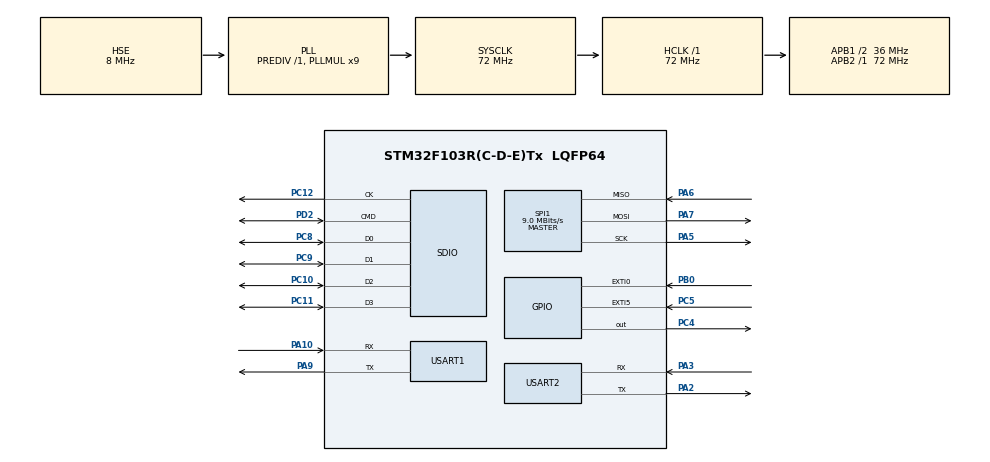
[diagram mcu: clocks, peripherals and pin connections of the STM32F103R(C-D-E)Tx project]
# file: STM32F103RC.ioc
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Mcu.Family=STM32F1
Mcu.Name=STM32F103R(C-D-E)Tx
Mcu.Package=LQFP64
NVIC.EXTI0_IRQn=true\:0\:0\:false\:false\:true\:true
NVIC.EXTI9_5_IRQn=true\:0\:0\:false\:false\:true\:true
NVIC.PriorityGroup=NVIC_PRIORITYGROUP_4
NVIC.USART1_IRQn=true\:0\:0\:false\:false\:true\:true
NVIC.USART2_IRQn=true\:0\:0\:false\:false\:true\:true
PA10.Mode=Asynchronous
PA10.Signal=USART1_RX
PA2.Mode=Asynchronous
PA2.Signal=USART2_TX
PA3.Mode=Asynchronous
PA3.Signal=USART2_RX
PA5.Mode=Full_Duplex_Master
PA5.Signal=SPI1_SCK
PA6.Mode=Full_Duplex_Master
PA6.Signal=SPI1_MISO
PA7.Mode=Full_Duplex_Master
PA7.Signal=SPI1_MOSI
PA9.Mode=Asynchronous
PA9.Signal=USART1_TX
PB0.GPIO_PuPd=GPIO_PULLDOWN
PB0.Signal=GPXTI0
PC10.Mode=SD_4_bits_Wide_bus
PC10.Signal=SDIO_D2
PC11.Mode=SD_4_bits_Wide_bus
PC11.Signal=SDIO_D3
PC12.Mode=SD_4_bits_Wide_bus
PC12.Signal=SDIO_CK
PC4.Signal=GPIO_Output
PC5.GPIO_PuPd=GPIO_PULLDOWN
PC5.Signal=GPXTI5
PC8.Mode=SD_4_bits_Wide_bus
PC8.Signal=SDIO_D0
PC9.Mode=SD_4_bits_Wide_bus
PC9.Signal=SDIO_D1
PD0-OSC_IN.Mode=HSE-External-Oscillator
PD0-OSC_IN.Signal=RCC_OSC_IN
PD1-OSC_OUT.Mode=HSE-External-Oscillator
PD1-OSC_OUT.Signal=RCC_OSC_OUT
PD2.Mode=SD_4_bits_Wide_bus
PD2.Signal=SDIO_CMD
ProjectManager.HeapSize=0x200
ProjectManager.StackSize=0x400
ProjectManager.TargetToolchain=MDK-ARM V5
RCC.AHBFreq_Value=72000000
RCC.APB1CLKDivider=RCC_HCLK_DIV2
RCC.APB1Freq_Value=36000000
RCC.APB1TimFreq_Value=72000000
RCC.APB2Freq_Value=72000000
RCC.APB2TimFreq_Value=72000000
RCC.HCLKFreq_Value=72000000
RCC.PLLMUL=RCC_PLL_MUL9
RCC.PLLSourceVirtual=RCC_PLLSOURCE_HSE
RCC.SYSCLKFreq_VALUE=72000000
RCC.SYSCLKSource=RCC_SYSCLKSOURCE_PLLCLK
RCC.USBFreq_Value=72000000
SDIO.ClockDiv=4
SPI1.BaudRatePrescaler=SPI_BAUDRATEPRESCALER_8
SPI1.CalculateBaudRate=9.0 MBits/s
SPI1.Direction=SPI_DIRECTION_2LINES
SPI1.Mode=SPI_MODE_MASTER
SPI1.VirtualType=VM_MASTER
USART1.VirtualMode=VM_ASYNC
USART2.VirtualMode=VM_ASYNC
VP_FATFS_VS_SDIO.Mode=SDIO
VP_SYS_VS_ND.Mode=No_Debug
board=STM32F103RC

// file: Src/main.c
/**
  ******************************************************************************
  * File Name          : main.c
  * Description        : Main program body
  ******************************************************************************
  * This notice applies to any and all portions of this file
  * that are not between comment pairs USER CODE BEGIN and
  * USER CODE END. Other portions of this file, whether
  * inserted by the user or by software development tools
  * are owned by their respective copyright owners.
  *
  * Copyright (c) 2018 STMicroelectronics International N.V.
  * All rights reserved.
  *
  * Redistribution and use in source and binary forms, with or without
  * modification, are permitted, provided that the following conditions are met:
  *
  * 1. Redistribution of source code must retain the above copyright notice,
  *    this list of conditions and the following disclaimer.
  * 2. Redistributions in binary form must reproduce the above copyright notice,
  *    this list of conditions and the following disclaimer in the documentation
  *    and/or other materials provided with the distribution.
  * 3. Neither the name of STMicroelectronics nor the names of other
  *    contributors to this software may be used to endorse or promote products
  *    derived from this software without specific written permission.
  * 4. This software, including modifications and/or derivative works of this
  *    software, must execute solely and exclusively on microcontroller or
  *    microprocessor devices manufactured by or for STMicroelectronics.
  * 5. Redistribution and use of this software other than as permitted under
  *    this license is void and will automatically terminate your rights under
  *    this license.
  *
  * THIS SOFTWARE IS PROVIDED BY STMICROELECTRONICS AND CONTRIBUTORS "AS IS"
  * AND ANY EXPRESS, IMPLIED OR STATUTORY WARRANTIES, INCLUDING, BUT NOT
  * LIMITED TO, THE IMPLIED WARRANTIES OF MERCHANTABILITY, FITNESS FOR A
  * PARTICULAR PURPOSE AND NON-INFRINGEMENT OF THIRD PARTY INTELLECTUAL PROPERTY
  * RIGHTS ARE DISCLAIMED TO THE FULLEST EXTENT PERMITTED BY LAW. IN NO EVENT
  * SHALL STMICROELECTRONICS OR CONTRIBUTORS BE LIABLE FOR ANY DIRECT, INDIRECT,
  * INCIDENTAL, SPECIAL, EXEMPLARY, OR CONSEQUENTIAL DAMAGES (INCLUDING, BUT NOT
  * LIMITED TO, PROCUREMENT OF SUBSTITUTE GOODS OR SERVICES; LOSS OF USE, DATA,
  * OR PROFITS; OR BUSINESS INTERRUPTION) HOWEVER CAUSED AND ON ANY THEORY OF
  * LIABILITY, WHETHER IN CONTRACT, STRICT LIABILITY, OR TORT (INCLUDING
  * NEGLIGENCE OR OTHERWISE) ARISING IN ANY WAY OUT OF THE USE OF THIS SOFTWARE,
  * EVEN IF ADVISED OF THE POSSIBILITY OF SUCH DAMAGE.
  *
  ******************************************************************************
  */

#include "main.h"
#include "stm32f1xx_hal.h"
#include "fatfs.h"
#include "sdio.h"
#include "spi.h"
#include "usart.h"
#include "gpio.h"

extern void lwip_demo(void *pdata);

/* USER CODE BEGIN PV */
/* Private variables ---------------------------------------------------------*/
FATFS fs;
FIL file;
FRESULT f_res;
UINT fnum;
BYTE ReadBuffer[1024]={0};
BYTE WriteBuffer[]= "Welcome to supowang\r\n";
/* USER CODE END PV */
static void printf_fatfs_error(FRESULT fresult);
void SystemClock_Config(void);

unsigned int sys_now(void)
{
    return HAL_GetTick();
}

/* USER CODE BEGIN PFP */
/* Private function prototypes -----------------------------------------------*/

/* USER CODE END PFP */

int main(void)
{

  /* MCU Configuration----------------------------------------------------------*/

  /* Reset of all peripherals, Initializes the Flash interface and the Systick. */
  HAL_Init();

  /* Configure the system clock */
  SystemClock_Config();

  /* Initialize all configured peripherals */
  MX_GPIO_Init();
  MX_SPI1_Init();
  MX_USART1_UART_Init();
  MX_USART2_UART_Init();
  MX_SDIO_SD_Init();
  MX_FATFS_Init();

  /* USER CODE BEGIN 2 */
	/* 向串口1发送开机字符 */
/*
    printf("****       (C) COPYRIGHT 2013 制造者科技    *******\r\n");    	  //。
    printf("*                                                 *\r\n");
    printf("*                                                 *\r\n");
    printf("*     MCU平台:STM32F103RCT6                       *\r\n");
    printf("*     以太网硬件:ENC28J60                         *\r\n");
    printf("*     固件库：3.5                                 *\r\n");
    printf("*     例程版本: 0.2                               *\r\n");
    printf("*                                                 *\r\n");
    printf("***************************************************\r\n");
*/
		printf("****** 即将进行测试... ******\r\n");
		if(retSD == 0)
  {
	//在SD卡挂载文件系统，文件系统挂载时会对SD卡初始化
	f_res = f_mount(&fs,(TCHAR const*)SDPath,1);
	printf_fatfs_error(f_res);
    /*----------------------- 格式化测试 ---------------------------*/
    /* 如果没有文件系统就格式化创建创建文件系统 */
    if(f_res == FR_NO_FILESYSTEM)
    {
      printf("》SD卡还没有文件系统，即将进行格式化...\r\n");
      /* 格式化 */
      f_res=f_mkfs((TCHAR const*)SDPath,0,0);

      if(f_res == FR_OK)
      {
        printf("》SD卡已成功格式化文件系统。\r\n");
        /* 格式化后，先取消挂载 */
        f_res = f_mount(NULL,(TCHAR const*)SDPath,1);
        /* 重新挂载	*/
        f_res = f_mount(&fs,(TCHAR const*)SDPath,1);
      }
      else
      {
        printf("《《格式化失败。》》\r\n");
        while(1);
      }
    }
    else if(f_res!=FR_OK)
    {
      printf("！！SD卡挂载文件系统失败。(%d)\r\n",f_res);
      printf_fatfs_error(f_res);
      while(1);
    }
    else
    {
      printf("》文件系统挂载成功，可以进行读写测试\r\n");
    }

    /*----------------------- 文件系统测试：写测试 -----------------------------*/
    /* 打开文件，如果文件不存在则创建它 */
    printf("****** 即将进行文件写入测试... ******\r\n");
    f_res = f_open(&file, "FatFs.txt",FA_CREATE_ALWAYS | FA_WRITE );
    if ( f_res == FR_OK )
    {
      printf("》打开/创建FatFs读写测试文件.txt文件成功，向文件写入数据。\r\n");
      /* 将指定存储区内容写入到文件内 */
      f_res=f_write(&file,WriteBuffer,sizeof(WriteBuffer),&fnum);
      if(f_res==FR_OK)
      {
        printf("》文件写入成功，写入字节数据：%d\r\n",fnum);
        printf("》向文件写入的数据为：\r\n%s\r\n",WriteBuffer);
      }
      else
      {
        printf("！！文件写入失败：(%d)\r\n",f_res);
      }
      /* 不再读写，关闭文件 */
      f_close(&file);
    }
    else
    {
      printf("！！打开/创建文件失败。\r\n");
    }

    /*------------------- 文件系统测试：读测试 ------------------------------------*/
    printf("****** 即将进行文件读取测试... ******\r\n");
    f_res = f_open(&file, "FatFs.txt", FA_OPEN_EXISTING | FA_READ);
    if(f_res == FR_OK)
    {
      printf("》打开文件成功。\r\n");
      f_res = f_read(&file, ReadBuffer, sizeof(ReadBuffer), &fnum);
      if(f_res==FR_OK)
      {
        printf("》文件读取成功,读到字节数据：%d\r\n",fnum);
        printf("》读取得的文件数据为：\r\n%s \r\n", ReadBuffer);
      }
      else
      {
        printf("！！文件读取失败：(%d)\r\n",f_res);
      }
    }
    else
    {
      printf("！！打开文件失败。\r\n");
    }
    /* 不再读写，关闭文件 */
    f_close(&file);

    /* 不再使用，取消挂载 */
    f_res = f_mount(NULL,(TCHAR const*)SDPath,1);

  /* 注销一个FatFS设备：SD卡 */
    FATFS_UnLinkDriver(SDPath);
	}

	lwip_demo(NULL);	  //初始化内核，启动LwIP相关
  /* USER CODE END 2 */

  /* Infinite loop */
  while (1)
  {
		printf("Welcome to here\r\n");
		HAL_Delay(1000);
  }

}

/** System Clock Configuration
*/
void SystemClock_Config(void)
{

  RCC_OscInitTypeDef RCC_OscInitStruct;
  RCC_ClkInitTypeDef RCC_ClkInitStruct;

    /**Initializes the CPU, AHB and APB busses clocks
    */
  RCC_OscInitStruct.OscillatorType = RCC_OSCILLATORTYPE_HSE;
  RCC_OscInitStruct.HSEState = RCC_HSE_ON;
  RCC_OscInitStruct.HSEPredivValue = RCC_HSE_PREDIV_DIV1;
  RCC_OscInitStruct.HSIState = RCC_HSI_ON;
  RCC_OscInitStruct.PLL.PLLState = RCC_PLL_ON;
  RCC_OscInitStruct.PLL.PLLSource = RCC_PLLSOURCE_HSE;
  RCC_OscInitStruct.PLL.PLLMUL = RCC_PLL_MUL9;
  if (HAL_RCC_OscConfig(&RCC_OscInitStruct) != HAL_OK)
  {
    _Error_Handler(__FILE__, __LINE__);
  }

    /**Initializes the CPU, AHB and APB busses clocks
    */
  RCC_ClkInitStruct.ClockType = RCC_CLOCKTYPE_HCLK|RCC_CLOCKTYPE_SYSCLK
                              |RCC_CLOCKTYPE_PCLK1|RCC_CLOCKTYPE_PCLK2;
  RCC_ClkInitStruct.SYSCLKSource = RCC_SYSCLKSOURCE_PLLCLK;
  RCC_ClkInitStruct.AHBCLKDivider = RCC_SYSCLK_DIV1;
  RCC_ClkInitStruct.APB1CLKDivider = RCC_HCLK_DIV2;
  RCC_ClkInitStruct.APB2CLKDivider = RCC_HCLK_DIV1;

  if (HAL_RCC_ClockConfig(&RCC_ClkInitStruct, FLASH_LATENCY_2) != HAL_OK)
  {
    _Error_Handler(__FILE__, __LINE__);
  }

    /**Configure the Systick interrupt time
    */
  HAL_SYSTICK_Config(HAL_RCC_GetHCLKFreq()/1000);

    /**Configure the Systick
    */
  HAL_SYSTICK_CLKSourceConfig(SYSTICK_CLKSOURCE_HCLK);

  /* SysTick_IRQn interrupt configuration */
  HAL_NVIC_SetPriority(SysTick_IRQn, 0, 0);
}

/* USER CODE BEGIN 4 */
/**
  * 函数功能: FatFS文件系统操作结果信息处理.
  * 输入参数: FatFS文件系统操作结果：FRESULT
  * 返 回 值: 无
  * 说    明: 无
  */
static void printf_fatfs_error(FRESULT fresult)
{
  switch(fresult)
  {
    case FR_OK:                   //(0)
      printf("》操作成功。\r\n");
    break;
    case FR_DISK_ERR:             //(1)
      printf("！！硬件输入输出驱动出错。\r\n");
    break;
    case FR_INT_ERR:              //(2)
      printf("！！断言错误。\r\n");
    break;
    case FR_NOT_READY:            //(3)
      printf("！！物理设备无法工作。\r\n");
    break;
    case FR_NO_FILE:              //(4)
      printf("！！无法找到文件。\r\n");
    break;
    case FR_NO_PATH:              //(5)
      printf("！！无法找到路径。\r\n");
    break;
    case FR_INVALID_NAME:         //(6)
      printf("！！无效的路径名。\r\n");
    break;
    case FR_DENIED:               //(7)
    case FR_EXIST:                //(8)
      printf("！！拒绝访问。\r\n");
    break;
    case FR_INVALID_OBJECT:       //(9)
      printf("！！无效的文件或路径。\r\n");
    break;
    case FR_WRITE_PROTECTED:      //(10)
      printf("！！逻辑设备写保护。\r\n");
    break;
    case FR_INVALID_DRIVE:        //(11)
      printf("！！无效的逻辑设备。\r\n");
    break;
    case FR_NOT_ENABLED:          //(12)
      printf("！！无效的工作区。\r\n");
    break;
    case FR_NO_FILESYSTEM:        //(13)
      printf("！！无效的文件系统。\r\n");
    break;
    case FR_MKFS_ABORTED:         //(14)
      printf("！！因函数参数问题导致f_mkfs函数操作失败。\r\n");
    break;
    case FR_TIMEOUT:              //(15)
      printf("！！操作超时。\r\n");
    break;
    case FR_LOCKED:               //(16)
      printf("！！文件被保护。\r\n");
    break;
    case FR_NOT_ENOUGH_CORE:      //(17)
      printf("！！长文件名支持获取堆空间失败。\r\n");
    break;
    case FR_TOO_MANY_OPEN_FILES:  //(18)
      printf("！！打开太多文件。\r\n");
    break;
    case FR_INVALID_PARAMETER:    // (19)
      printf("！！参数无效。\r\n");
    break;
  }
}
/* USER CODE END 4 */

void _Error_Handler(char * file, int line)
{
  while(1)
  {
  }
}

/************************ (C) COPYRIGHT STMicroelectronics *****END OF FILE****/
